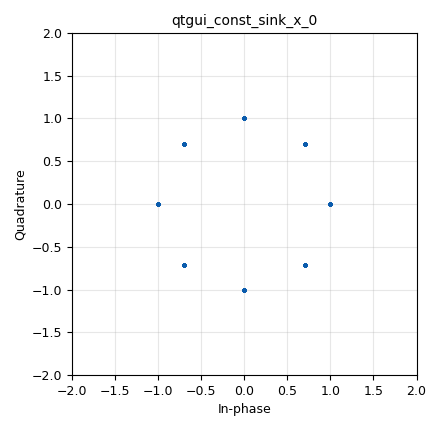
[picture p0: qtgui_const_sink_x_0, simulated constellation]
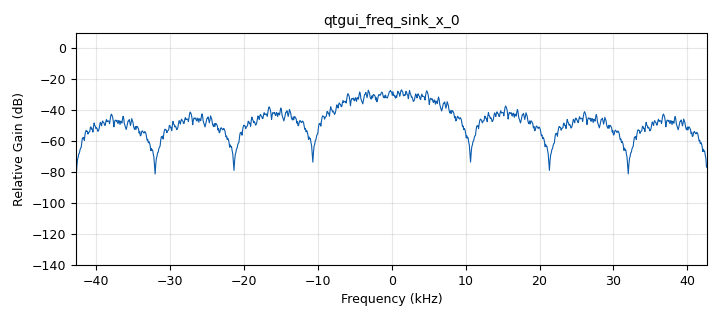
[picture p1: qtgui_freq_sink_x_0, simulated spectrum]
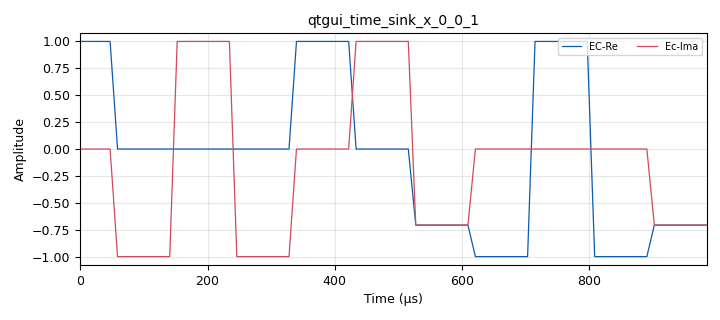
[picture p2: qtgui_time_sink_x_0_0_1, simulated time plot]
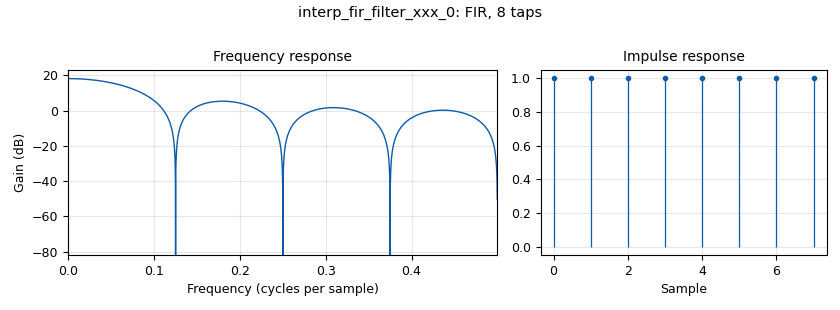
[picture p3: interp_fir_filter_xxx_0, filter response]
options:
  parameters:
    author: labcom
    generate_options: qt_gui
    id: TablasDeVerdad
    output_language: python
    title: Not titled yet
  states: {}

blocks:
- name: M
  id: variable
  parameters:
    value: '8'
  states: {}
- name: Nbs
  id: variable
  parameters:
    value: int(math.log(M,2))
  states: {}
- name: Rb
  id: variable
  parameters:
    value: '32000'
  states: {}
- name: Rs
  id: variable
  parameters:
    value: Rb/Nbs
  states: {}
- name: Sps
  id: variable
  parameters:
    value: len(h)
  states: {}
- name: h
  id: variable
  parameters:
    value: (1,1,1,1,1,1,1,1)
  states: {}
- name: samp_rate
  id: variable
  parameters:
    value: Rs*Sps
  states: {}
- name: analog_const_source_x_0
  id: analog_const_source_x
  parameters:
    const: '1'
    type: float
  states: {}
- name: analog_noise_source_x_0
  id: analog_noise_source_x
  parameters:
    amp: '0.1'
    noise_type: analog.GR_GAUSSIAN
    seed: '0'
    type: complex
  states: {state: disabled}
- name: analog_random_source_x_0
  id: analog_random_source_x
  parameters:
    max: '2'
    min: '0'
    num_samps: '1000'
    repeat: 'True'
    type: byte
  states: {}
- name: b_PSD_c_0
  id: b_PSD_c
  parameters:
    Ensayos: '1000000'
    Fc: '0'
    N: '1024'
    Ymax: '6e-6'
    samp_rate_audio: samp_rate
  states: {}
- name: blocks_add_xx_0
  id: blocks_add_xx
  parameters:
    type: complex
  states: {state: disabled}
- name: blocks_char_to_float_0
  id: blocks_char_to_float
  parameters:
    scale: '1'
  states: {state: disabled}
- name: blocks_char_to_float_0_0
  id: blocks_char_to_float
  parameters:
    scale: '1'
  states: {}
- name: blocks_char_to_float_0_0_0
  id: blocks_char_to_float
  parameters:
    scale: '1'
  states: {state: disabled}
- name: blocks_multiply_const_vxx_0
  id: blocks_multiply_const_vxx
  parameters:
    const: 2*math.pi/M
    type: float
  states: {}
- name: blocks_null_sink_0
  id: blocks_null_sink
  parameters:
    type: complex
  states: {state: disabled}
- name: blocks_repack_bits_bb_0
  id: blocks_repack_bits_bb
  parameters:
    endianness: gr.GR_LSB_FIRST
    k: '1'
    l: Nbs
  states: {}
- name: epy_block_0
  id: epy_block
  parameters:
    _source_code: |
      """
      Embedded Python Blocks:

      Each time this file is saved, GRC will instantiate the first class it finds
      to get ports and parameters of your block. The arguments to __init__  will
      be the parameters. All of them are required to have default values!
      """

      import numpy as np
      from gnuradio import gr


      class blk(gr.sync_block):  # other base classes are basic_block, decim_block, interp_block
          """Embedded Python Block example - a simple multiply const"""

          def __init__(self, example_param=1.0):  # only default arguments here
              """Este blque fue creado """
              gr.sync_block.__init__(
                  self,
                  name='VCO complex',   # will show up in GRC
                  in_sig=[np.float32,  np.float32],
                  out_sig=[np.complex64]
              )
              # if an attribute with the same name as a parameter is found,
              # a callback is registered (properties work, too).
              self.example_param = example_param

          def work(self, input_items, output_items):
              Q=input_items[0]
              A=input_items[1]
              Sec=output_items[0]
              Sec[:]=A*np.exp(1.j*Q)
              return len(Sec)
    example_param: '1.0'
  states: {}
- name: import_0
  id: import
  parameters:
    imports: import math
  states: {}
- name: interp_fir_filter_xxx_0
  id: interp_fir_filter_xxx
  parameters:
    interp: Sps
    taps: h
    type: ccc
  states: {}
- name: qtgui_const_sink_x_0
  id: qtgui_const_sink_x
  parameters:
    size: '1024'
    type: complex
  states: {}
- name: qtgui_const_sink_x_1
  id: qtgui_const_sink_x
  parameters:
    size: '1024'
    type: complex
  states: {state: disabled}
- name: qtgui_freq_sink_x_0
  id: qtgui_freq_sink_x
  parameters:
    average: '0.05'
    bw: samp_rate
    fc: '0'
    fftsize: '1024'
    type: complex
  states: {}
- name: qtgui_time_sink_x_0
  id: qtgui_time_sink_x
  parameters:
    marker1: '0'
    size: '12'
    srate: Rb
    stemplot: 'True'
    type: float
  states: {state: disabled}
- name: qtgui_time_sink_x_0_0
  id: qtgui_time_sink_x
  parameters:
    marker1: '0'
    size: '12'
    srate: Rs
    stemplot: 'True'
    type: float
  states: {state: disabled}
- name: qtgui_time_sink_x_0_0_0
  id: qtgui_time_sink_x
  parameters:
    marker1: '0'
    size: '12'
    srate: Rs
    stemplot: 'True'
    type: float
  states: {state: disabled}
- name: qtgui_time_sink_x_0_0_1
  id: qtgui_time_sink_x
  parameters:
    label1: EC-Re
    label2: Ec-Ima
    size: int(32*Sps/Nbs)
    srate: samp_rate
    type: complex
    width1: '3'
    width2: '3'
  states: {}
- name: qtgui_time_sink_x_1
  id: qtgui_time_sink_x
  parameters:
    label1: EC-Re
    label2: EC-Im
    size: '512'
    srate: Rb
    type: complex
    width1: '3'
    width2: '3'
  states: {state: disabled}

connections:
- [analog_const_source_x_0, '0', epy_block_0, '1']
- [analog_noise_source_x_0, '0', blocks_add_xx_0, '0']
- [analog_noise_source_x_0, '0', qtgui_const_sink_x_1, '0']
- [analog_noise_source_x_0, '0', qtgui_time_sink_x_1, '0']
- [analog_random_source_x_0, '0', blocks_char_to_float_0, '0']
- [analog_random_source_x_0, '0', blocks_repack_bits_bb_0, '0']
- [blocks_add_xx_0, '0', blocks_null_sink_0, '0']
- [blocks_char_to_float_0, '0', qtgui_time_sink_x_0, '0']
- [blocks_char_to_float_0_0, '0', blocks_multiply_const_vxx_0, '0']
- [blocks_char_to_float_0_0_0, '0', qtgui_time_sink_x_0_0_0, '0']
- [blocks_multiply_const_vxx_0, '0', epy_block_0, '0']
- [blocks_repack_bits_bb_0, '0', blocks_char_to_float_0_0, '0']
- [blocks_repack_bits_bb_0, '0', blocks_char_to_float_0_0_0, '0']
- [epy_block_0, '0', b_PSD_c_0, '0']
- [epy_block_0, '0', interp_fir_filter_xxx_0, '0']
- [epy_block_0, '0', qtgui_const_sink_x_0, '0']
- [interp_fir_filter_xxx_0, '0', blocks_add_xx_0, '1']
- [interp_fir_filter_xxx_0, '0', qtgui_freq_sink_x_0, '0']
- [interp_fir_filter_xxx_0, '0', qtgui_time_sink_x_0_0_1, '0']

metadata:
  file_format: 1
  grc_version: 3.10.5.1
